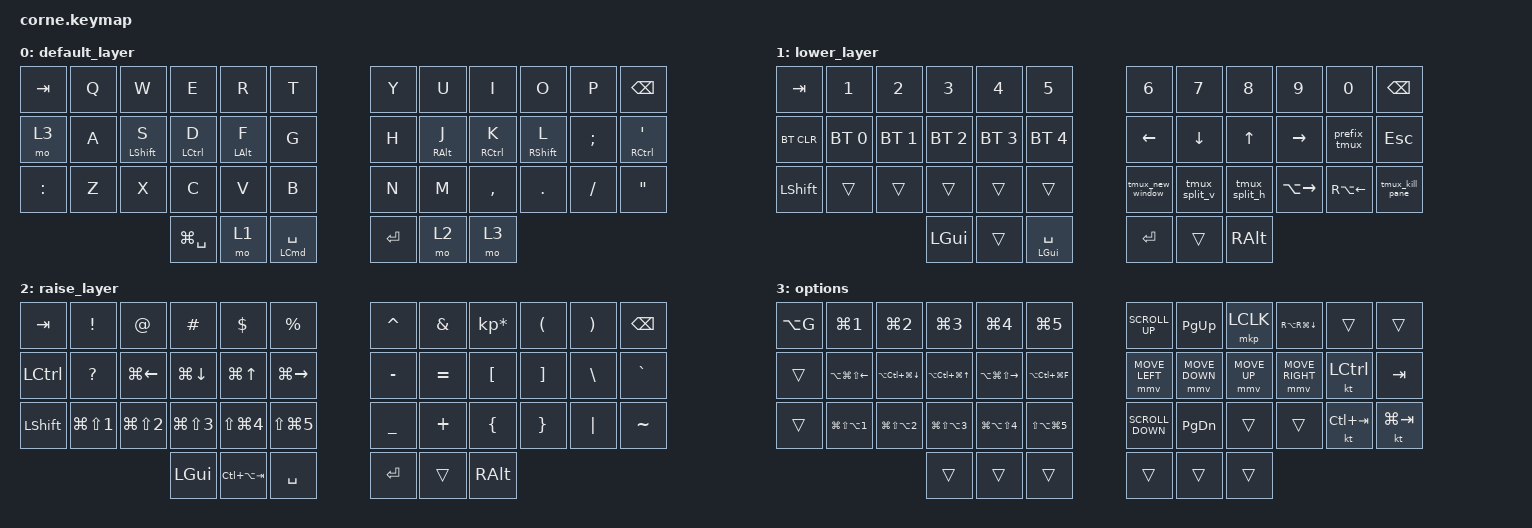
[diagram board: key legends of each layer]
/*
 * Copyright (c) 2020 The ZMK Contributors
 *
 * SPDX-License-Identifier: MIT
 */

#include <behaviors.dtsi>
#include <dt-bindings/zmk/bt.h>
#include <dt-bindings/zmk/keys.h>
#include <dt-bindings/zmk/pointing.h>

/ {
    macros {
        tmux_new_window: change_tab {
            compatible = "zmk,behavior-macro";
            #binding-cells = <0>;
            bindings =
                <&macro_press>,
                <&kp LEFT_CONTROL>,
                <&macro_tap>,
                <&kp SPACE>,
                <&macro_release>,
                <&kp LEFT_CONTROL>,
                <&macro_tap>,
                <&kp C>;

            label = "CHANGE_TAB";
        };

        clean: clean {
            compatible = "zmk,behavior-macro";
            #binding-cells = <0>;
            bindings = <&kt LEFT_CONTROL>;
            label = "CLEAN";
        };

        tmux_split_h: tmux_split_h {
            compatible = "zmk,behavior-macro";
            #binding-cells = <0>;
            bindings =
                <&macro_press>,
                <&kp LEFT_CONTROL>,
                <&macro_tap>,
                <&kp SPACE>,
                <&macro_release>,
                <&kp LEFT_CONTROL>,
                <&macro_tap>,
                <&kp H>;

            label = "TMUX_SPLIT_H";
        };

        tmux_split_v: tmux_split_v {
            compatible = "zmk,behavior-macro";
            #binding-cells = <0>;
            bindings =
                <&macro_press>,
                <&kp LEFT_CONTROL>,
                <&macro_tap>,
                <&kp SPACE>,
                <&macro_release>,
                <&kp LEFT_CONTROL>,
                <&macro_tap>,
                <&kp V>;

            label = "TMUX_SPLIT_V";
        };

        tmux_kill_pane: tmux_kill_pane {
            compatible = "zmk,behavior-macro";
            #binding-cells = <0>;
            bindings =
                <&macro_press>,
                <&kp LEFT_CONTROL>,
                <&macro_tap>,
                <&kp SPACE>,
                <&macro_release>,
                <&kp LEFT_CONTROL>,
                <&macro_tap>,
                <&kp X>;

            label = "TMUX_KILL_PANE";
        };

        prefix_tmux: prefix_tmux {
            compatible = "zmk,behavior-macro";
            #binding-cells = <0>;
            bindings =
                <&macro_press>,
                <&kp LEFT_CONTROL>,
                <&macro_tap>,
                <&kp SPACE>,
                <&macro_release>,
                <&kp LEFT_CONTROL>;

            label = "PREFIX_TMUX";
        };
    };

    combos {
        compatible = "zmk,combos";

        teste_theme {
            bindings = <&kp LG(LC(LS(SPACE)))>;
            key-positions = <18 19>;
            layers = <0>;
        };
    };

    keymap {
        compatible = "zmk,keymap";

        default_layer {
            // -----------------------------------------------------------------------------------------
            // |  TAB |  Q  |  W  |  E  |  R  |  T  |   |  Y  |  U   |  I  |  O  |  P  | BKSP |
            // | CTRL |  A  |  S  |  D  |  F  |  G  |   |  H  |  J   |  K  |  L  |  ;  |  '   |
            // | SHFT |  Z  |  X  |  C  |  V  |  B  |   |  N  |  M   |  ,  |  .  |  /  | ESC  |
            //                    | GUI | LWR | SPC |   | ENT | RSE  | ALT |

            bindings = <
&kp TAB    &kp Q  &kp W             &kp E               &kp R           &kp T                     &kp Y    &kp U            &kp I                &kp O              &kp P     &kp BSPC
&mo 3      &kp A  &mt LEFT_SHIFT S  &mt LEFT_CONTROL D  &mt LEFT_ALT F  &kp G                     &kp H    &mt RIGHT_ALT J  &mt RIGHT_CONTROL K  &mt RIGHT_SHIFT L  &kp SEMI  &mt RCTRL SQT
&kp COLON  &kp Z  &kp X             &kp C               &kp V           &kp B                     &kp N    &kp M            &kp COMMA            &kp DOT            &kp FSLH  &kp DOUBLE_QUOTES
                                    &kp LG(SPACE)       &mo 1           &mt LEFT_COMMAND SPACE    &kp RET  &mo 2            &mo 3
            >;
        };

        lower_layer {
            // -----------------------------------------------------------------------------------------
            // |  TAB |  1  |  2  |  3  |  4  |  5  |   |  6  |  7  |  8  |  9  |  0  | BKSP |
            // | BTCLR| BT1 | BT2 | BT3 | BT4 | BT5 |   | LFT | DWN |  UP | RGT |     |      |
            // | SHFT |     |     |     |     |     |   |     |     |     |     |     |      |
            //                    | GUI |     | SPC |   | ENT |     | ALT |

            bindings = <
&kp TAB     &kp N1        &kp N2        &kp N3        &kp N4        &kp N5            &kp N6            &kp N7         &kp N8         &kp N9         &kp N0              &kp BSPC
&bt BT_CLR  &bt BT_SEL 0  &bt BT_SEL 1  &bt BT_SEL 2  &bt BT_SEL 3  &bt BT_SEL 4      &kp LEFT          &kp DOWN       &kp UP         &kp RIGHT      &prefix_tmux        &kp ESC
&kp LSHFT   &trans        &trans        &trans        &trans        &trans            &tmux_new_window  &tmux_split_v  &tmux_split_h  &kp LA(RIGHT)  &kp RA(LEFT_ARROW)  &tmux_kill_pane
                                        &kp LGUI      &trans        &mt LGUI SPACE    &kp RET           &trans         &kp RALT
            >;
        };

        raise_layer {
            // -----------------------------------------------------------------------------------------
            // |  TAB |  !  |  @  |  #  |  $  |  %  |   |  ^  |  &  |  *  |  (  |  )  | BKSP |
            // | CTRL |     |     |     |     |     |   |  -  |  =  |  [  |  ]  |  \  |  `   |
            // | SHFT |     |     |     |     |     |   |  _  |  +  |  {  |  }  | "|" |  ~   |
            //                    | GUI |     | SPC |   | ENT |     | ALT |

            bindings = <
&kp TAB    &kp EXCL              &kp AT                &kp HASH              &kp DLLR              &kp PRCNT         &kp CARET  &kp AMPS   &kp KP_MULTIPLY  &kp LPAR  &kp RPAR  &kp BSPC
&kp LCTRL  &kp QUESTION          &kp LG(LEFT)          &kp LG(DOWN)          &kp LG(UP_ARROW)      &kp LG(RIGHT)     &kp MINUS  &kp EQUAL  &kp LBKT         &kp RBKT  &kp BSLH  &kp GRAVE
&kp LSHFT  &kp LG(LS(NUMBER_1))  &kp LG(LS(NUMBER_2))  &kp LG(LS(NUMBER_3))  &kp LS(LG(NUMBER_4))  &kp LS(LG(N5))    &kp UNDER  &kp PLUS   &kp LBRC         &kp RBRC  &kp PIPE  &kp TILDE
                                                       &kp LGUI              &kp LC(LA(TAB))       &kp SPACE         &kp RET    &trans     &kp RALT
            >;
        };

        options {
            bindings = <
&kp LA(G)  &kp LG(NUMBER_1)            &kp LG(NUMBER_2)          &kp LG(NUMBER_3)          &kp LG(NUMBER_4)          &kp LG(NUMBER_5)      &kp K_SCROLL_UP    &kp PG_UP       &mkp LCLK     &kp RA(RG(DOWN_ARROW))  &trans            &trans
&trans     &kp LA(LG(LS(LEFT_ARROW)))  &kp LA(LC(LG(DOWN)))      &kp LA(LC(LG(UP_ARROW)))  &kp LA(LG(LS(RIGHT)))     &kp LA(LC(LG(F)))     &mmv MOVE_LEFT     &mmv MOVE_DOWN  &mmv MOVE_UP  &mmv MOVE_RIGHT         &kt LEFT_CONTROL  &kp TAB
&trans     &kp LG(LS(LA(NUMBER_1)))    &kp LG(LS(LA(NUMBER_2)))  &kp LG(LS(LA(NUMBER_3)))  &kp LG(LA(LS(NUMBER_4)))  &kp LS(LA(LG(N5)))    &kp K_SCROLL_DOWN  &kp PAGE_DOWN   &trans        &trans                  &kt LC(TAB)       &kt LG(TAB)
                                                                 &trans                    &trans                    &trans                &trans             &trans          &trans
            >;
        };
    };
};
